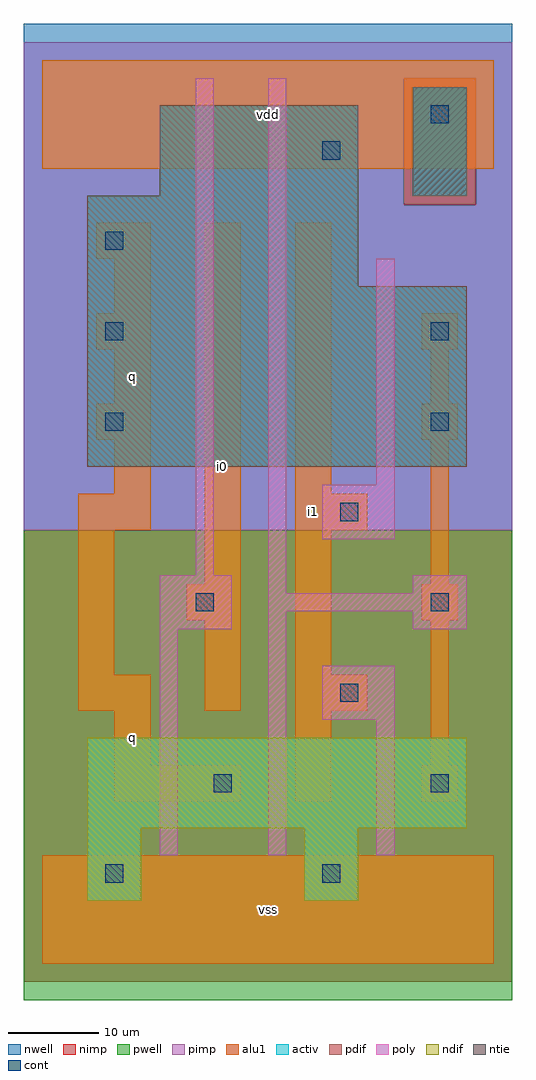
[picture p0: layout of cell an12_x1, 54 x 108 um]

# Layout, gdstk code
import gdstk
lib = gdstk.Library(unit=1e-6, precision=1e-09)
def R(c, l, rs):  # rectangles x0, y0, x1, y1
    for r in rs: c.add(gdstk.rectangle(r[:2], r[2:], *l))
def A(c, l, x, y, w, h, nx, ny, dx, dy):  # array of equal rectangles
    R(c, l, [(x+i*dx, y+j*dy, x+i*dx+w, y+j*dy+h) for i in range(nx) for j in range(ny)])
ndif = (3, 0)
pdif = (4, 0)
ntie = (5, 0)
cont = (25, 0)
pwell = (41, 0)
nwell = (42, 0)
activ = (43, 0)
pimp = (44, 0)
nimp = (45, 0)
poly = (46, 0)
alu1 = (49, 0)

an12_x1 = lib.new_cell('an12_x1')
R(an12_x1, ndif, [(5,7,11,15), (29,7,35,15), (5,15,47,25)])
R(an12_x1, pdif, [(5,55,47,75), (5,75,35,85), (13,85,35,95)])
R(an12_x1, ntie, [(41,85,47,97)])
A(an12_x1, cont, 43, 19, 2, 2, 1, 3, 0, 20)
A(an12_x1, cont, 7, 59, 2, 2, 1, 3, 0, 10)
R(an12_x1, cont, [(7,9,9,11), (31,9,33,11), (19,19,21,21), (33,29,35,31), (17,39,19,41), (33,49,35,51), (43,69,45,71), (31,89,33,91), (43,93,45,95)])
R(an12_x1, pwell, [(-2,-4,52,48)])
R(an12_x1, nwell, [(-2,48,52,104)])
R(an12_x1, activ, [(5,7,11,15), (29,7,35,15), (5,15,47,25), (5,55,47,75), (5,75,35,85), (13,85,35,95), (41,85,47,97)])
R(an12_x1, pimp, [(-2,48,52,84), (-2,84,40,98), (48,84,52,98), (-2,98,52,102)])
R(an12_x1, nimp, [(-2,-2,52,48), (40,84,48,98)])
R(an12_x1, poly, [(13,12,15,37), (25,12,27,39), (37,12,39,27), (31,27,39,33), (13,37,21,43), (41,37,47,39), (25,39,47,41), (25,41,27,98), (41,41,47,43), (17,43,19,98), (31,47,39,53), (37,53,39,78)])
A(an12_x1, alu1, 42, 18, 4, 4, 1, 3, 0, 20)
A(an12_x1, alu1, 8, 52, 4, 6, 1, 3, 0, 10)
A(an12_x1, alu1, 6, 58, 6, 4, 1, 3, 0, 10)
R(an12_x1, alu1, [(0,0,50,12), (8,18,22,22), (28,18,32,28), (8,22,12,28), (43,22,45,38), (4,28,12,32), (18,28,22,38), (28,28,36,32), (4,32,8,48), (28,32,32,48), (16,38,22,42), (18,42,22,82), (43,42,45,58), (4,48,12,52), (28,48,36,52), (28,52,32,82), (43,62,45,68), (42,68,46,72), (0,88,50,100)])
an12_x1.add(gdstk.Label('q', (10,25), layer=49, texttype=0))
an12_x1.add(gdstk.Label('i0', (20,55), layer=49, texttype=0))
an12_x1.add(gdstk.Label('q', (10,65), layer=49, texttype=0))
an12_x1.add(gdstk.Label('vss', (25,6), layer=49, texttype=0))
an12_x1.add(gdstk.Label('i1', (30,50), layer=49, texttype=0))
an12_x1.add(gdstk.Label('vdd', (25,94), layer=49, texttype=0))

lib.write_gds('an12_x1.gds')
